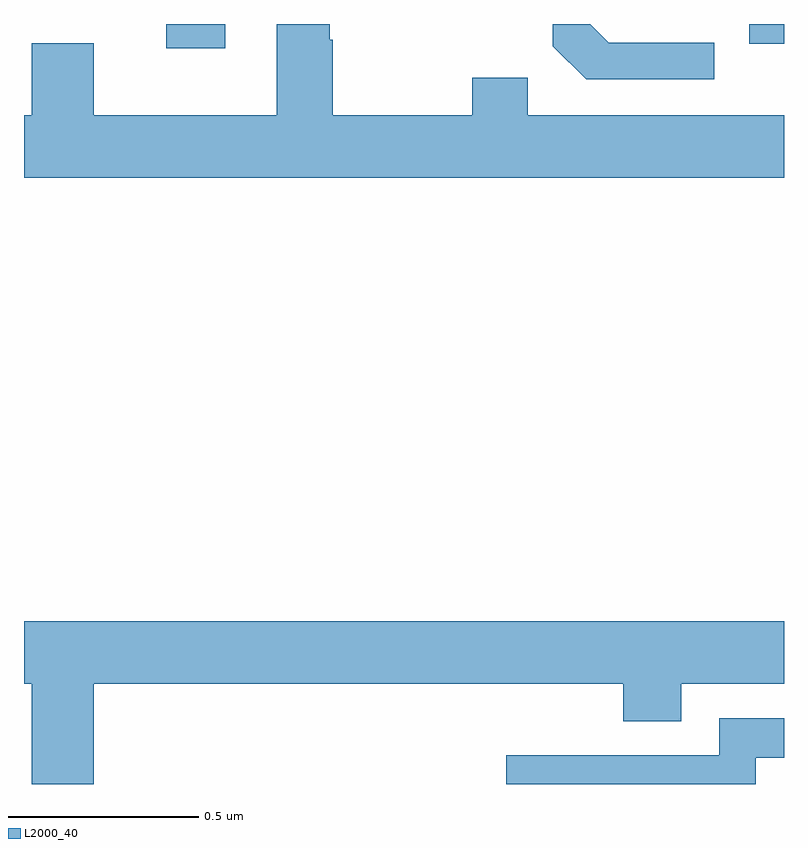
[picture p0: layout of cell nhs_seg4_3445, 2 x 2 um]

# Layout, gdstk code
import gdstk
lib = gdstk.Library(unit=1e-6, precision=1e-09)
def R(c, l, rs):  # rectangles x0, y0, x1, y1
    for r in rs: c.add(gdstk.rectangle(r[:2], r[2:], *l))
def P(c, l, *ps):  # polygons
    for p in ps: c.add(gdstk.Polygon(p, *l))
L2000_40 = (2000, 40)

nhs_seg4_3445 = lib.new_cell('nhs_seg4_3445')
R(nhs_seg4_3445, L2000_40, [(153.374,787.836,153.529,787.9), (154.908,787.848,155,787.9)])
P(nhs_seg4_3445, L2000_40, [(155,787.66),(154.326,787.66),(154.326,787.759),(154.18,787.759),(154.18,787.66),(153.813,787.66),(153.813,787.859),(153.805,787.859),(153.805,787.9),(153.665,787.9),(153.665,787.66),(153.184,787.66),(153.184,787.849),(153.02,787.849),(153.02,787.66),(153,787.66),(153,787.496),(155,787.496)],
  [(154.816,787.851),(154.539,787.851),(154.49,787.9),(154.392,787.9),(154.392,787.842),(154.479,787.755),(154.816,787.755)],
  [(153.184,786.164),(154.577,786.164),(154.577,786.065),(154.729,786.065),(154.729,786.164),(155,786.164),(155,786.328),(153,786.328),(153,786.164),(153.02,786.164),(153.02,785.9),(153.184,785.9)],
  [(154.926,785.969),(155,785.969),(155,786.073),(154.83,786.073),(154.83,785.976),(154.269,785.976),(154.269,785.9),(154.926,785.9)])

lib.write_gds('nhs_seg4_3445.gds')
